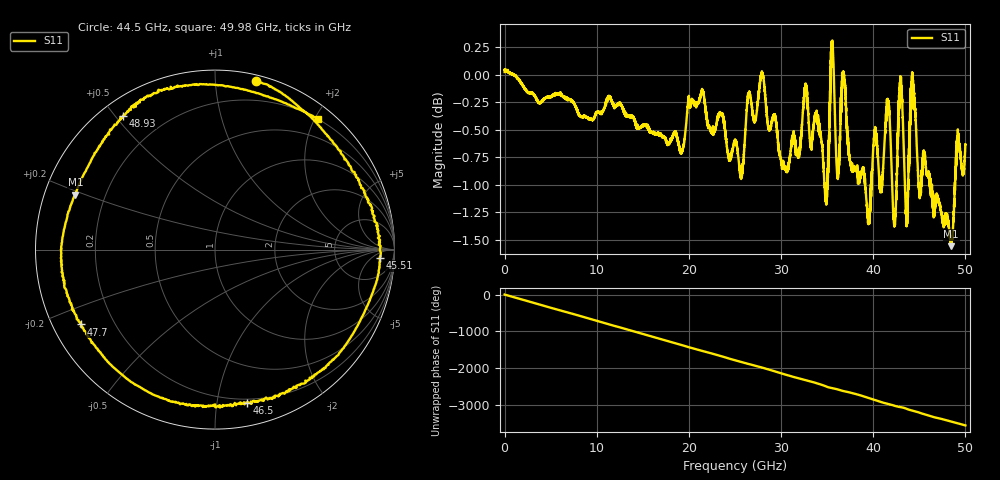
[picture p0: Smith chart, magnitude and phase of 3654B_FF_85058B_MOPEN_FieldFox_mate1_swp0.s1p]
!Created with skrf (http://scikit-rf.org).
# Hz S RI R 50.0
!freq ReS11 ImS11
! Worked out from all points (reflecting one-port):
!   10001 points, 300 kHz to 50 GHz, reference 50 ohm
!   lowest |S11| = -1.6 dB at 48.46 GHz (marker M1), VSWR 11.19, Z = 4.63 + j9.39 ohm
!   phase of S11 starts at 0 deg and turns -3550 deg over the sweep
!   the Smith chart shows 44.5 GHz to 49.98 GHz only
!   S11 on the Smith chart (normalised r, x): 44.5 GHz: 0.05, +1.27; 45.51 GHz: 18, -11; 46.5 GHz: 0.17, -1.21; 47.7 GHz: 0.08, -0.26; 48.93 GHz: 0.06, +0.53; 49.98 GHz: 0.20, +2.04
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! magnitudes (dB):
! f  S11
! 300 kHz  0.0
! 6.25 GHz  -0.2
! 12.5 GHz  -0.3
! 18.75 GHz  -0.6
! 21.42 GHz  -0.2
! 25 GHz  -0.6
! 27.93 GHz  0.0
! 31.25 GHz  -0.6
! 32.68 GHz  -0.2
! 34.87 GHz  -1.2
! 35.56 GHz  0.3
! 36.12 GHz  -0.9
! 36.79 GHz  0.0
! 37.5 GHz  -0.8
! 39.49 GHz  -1.3
! 41.6 GHz  -0.3
! 42.3 GHz  -1.4
! 42.99 GHz  -0.1
! 43.75 GHz  -1.2
! 44.5 GHz  -0.3
! 45 GHz  -1.0
! 45.51 GHz  -0.7
! 46.5 GHz  -1.2
! 47.7 GHz  -1.4
! 48.46 GHz  -1.6
! 48.93 GHz  -0.9
! 49.98 GHz  -0.7
! 50 GHz  -0.6
